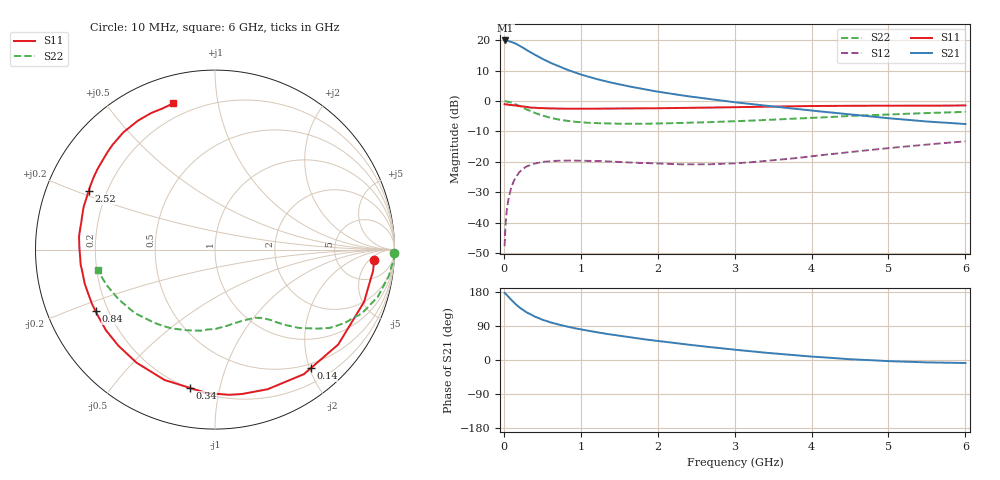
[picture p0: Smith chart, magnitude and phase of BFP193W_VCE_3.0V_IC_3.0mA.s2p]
! Infineon Technologies  Discrete & RF Semiconductors
! BFP193W
! VCE = 3.0 V,  IC =  3.0 mA
! Common Emitter S-Parameters:  Jan 2016
# GHz  S  MA  R  50
!  f  S11  S21  S12  S22
! GHz  MAG  ANG  MAG  ANG  MAG  ANG  MAG  ANG
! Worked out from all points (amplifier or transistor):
!   210 points, 10 MHz to 6 GHz, reference 50 ohm
!   highest |S21| = 19.9 dB at 20 MHz (marker M1)
!   |S21| within 3 dB of that: start of sweep to 287.6 MHz
!   unconditionally stable (mu >= 1): 1.905 GHz to 4.886 GHz
!   at 185 MHz: K = 0.11, MSG = 21.2 dB, |S12| = -24.0 dB
!   at 1.52 GHz: K = 0.79, MSG = 12.7 dB, |S12| = -20.1 dB
!   at 6 GHz: K = 0.95, MSG = 2.8 dB, |S12| = -13.3 dB
!   S11 on the Smith chart (normalised r, x): 10 MHz: 13, -7; 140 MHz: 0.43, -2.02; 340 MHz: 0.20, -0.81; 840 MHz: 0.15, -0.24; 2.52 GHz: 0.13, +0.22; 6 GHz: 0.13, +0.75
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0.01  0.8892 -3.8  9.898 177.0  0.0041 89.6  0.9994 -1.0
0.02  0.8883 -7.8  9.938 175.5  0.0082 84.6  0.9988 -3.6
0.05  0.8804 -19.3  9.823 168.8  0.0203 80.4  0.9797 -8.6
0.1  0.8665 -37.6  9.407 158.1  0.039 69.8  0.9443 -16.2
0.14  0.8495 -51.1  8.96 150.0  0.0514 62.4  0.9019 -21.9
0.2  0.8314 -69.4  8.181 139.2  0.0673 53.8  0.8348 -29.0
0.24  0.8184 -79.5  7.656 133.5  0.0752 48.5  0.7912 -32.9
0.3  0.8005 -93.4  6.881 125.2  0.0843 42.1  0.7249 -37.4
0.34  0.7828 -100.4  6.429 121.4  0.0879 38.5  0.6901 -39.5
0.4  0.7789 -111.2  5.813 114.7  0.0939 33.7  0.6398 -43.0
0.5  0.7669 -124.7  4.958 106.3  0.0997 28.0  0.5785 -46.7
0.6  0.7592 -135.2  4.294 99.7  0.1027 23.6  0.5325 -49.6
0.68  0.7552 -141.8  3.894 95.3  0.1039 21.1  0.5063 -51.3
0.84  0.7484 -152.7  3.228 87.4  0.105 17.0  0.4703 -54.7
1.02  0.7482 -161.9  2.693 80.1  0.1046 14.0  0.446 -58.5
1.4  0.753 -176.5  2.007 67.0  0.1013 10.9  0.4281 -66.5
2.02  0.7633 166.1  1.417 49.7  0.0936 13.8  0.4293 -80.5
2.52  0.7763 155.0  1.143 37.7  0.0908 20.5  0.4442 -92.8
3.1  0.7964 143.5  0.926 25.3  0.0964 30.4  0.4707 -107.0
4.1  0.8298 126.5  0.678 7.8  0.1276 41.0  0.5357 -132.2
5.1  0.8393 114.1  0.51 -3.6  0.173 41.5  0.6097 -154.7
6  0.8476 105.9  0.419 -7.9  0.2175 37.8  0.6642 -170.2
